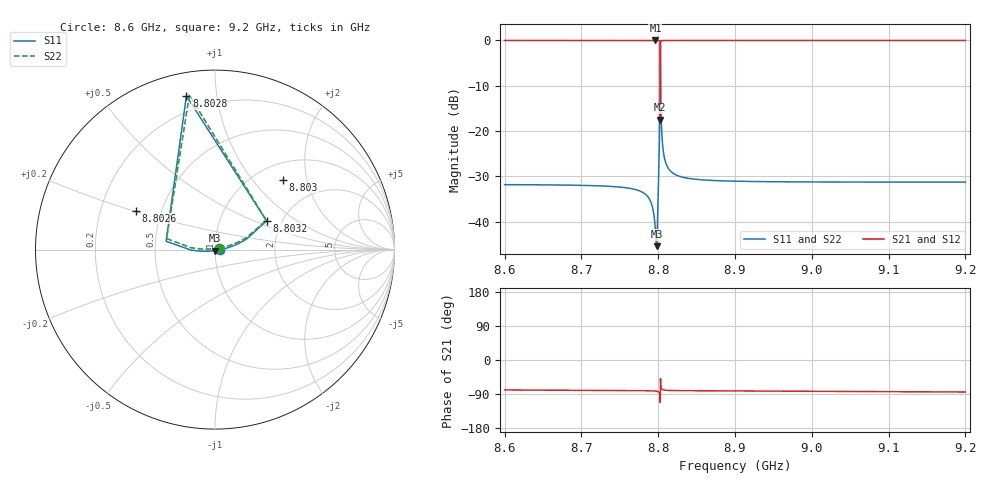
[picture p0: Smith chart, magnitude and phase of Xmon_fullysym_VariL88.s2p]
! Sonnet Data File
! From: emgraph Version : 16.52
! From Project: 171117_Xmon_fullysym
! Data is De-embedded
! Data File Written: 11/26/2017 21:44:45
!< HDATE 11/26/2017 17:24:49
!< MDATE 11/26/2017 17:24:49
!< PARAMS
!< Lj = 11.0
!< Gap = 1.0
!< Pwid = 2000.0
!< Airgap = 6.0
!< Width = 10.0
!< Lj1 = 8.8
!< END PARAMS
# GHZ S MA R 50.90000
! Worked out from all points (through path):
!   3001 points, 8.6 GHz to 9.2 GHz, reference 50.9 ohm
!   highest |S21| = 0.00 dB at 8.7964 GHz (marker M1); lowest = -17.5 dB at 8.8028 GHz (marker M2)
!   lowest |S11| = -45.4 dB at 8.7978 GHz (marker M3), VSWR 1.01, Z = 51 - j0.539 ohm
!   |S11| at or under -10 dB: start of sweep to 8.8024 GHz; 8.8032 GHz to end of sweep
!   |S22| runs from -45.1 to -1.2 dB; largest |S21 - S12| = 1.6e-11
!   S11 on the Smith chart (normalised r, x): 8.6 GHz: 1.05, -0.00; 8.8026 GHz: 0.36, +0.20; 8.8028 GHz: 0.12, +0.82; 8.803 GHz: 1.31, +1.45; 8.8032 GHz: 1.67, +0.60; 9.2 GHz: 1.06, -0.01
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8.6  0.02563 -0.3  0.9997 -79.0  0.9997 -79.0  0.02563 22.3
!< P1 F=8.6 Eeff=(6.44845572 -2.9799e-5) Z0=(50.9087207 1.17006e-4) R=0.0 C=0.0
!< P2 F=8.6 Eeff=(6.44845572 -2.9799e-5) Z0=(50.9087207 1.17006e-4) R=0.0 C=0.0
8.7  0.02517 -1.7  0.9997 -80.0  0.9997 -80.0  0.02517 21.8
8.7794  0.02114 -5.3  0.9998 -80.9  0.9998 -80.9  0.02115 23.4
8.7902  0.01663 -9.8  0.9998 -81.3  0.9998 -81.3  0.01664 27.3
8.7964  0.007931 -34.3  0.9999 -81.9  0.9999 -81.9  0.008015 51.1
8.7978  0.005365 -79.9  0.9999 -82.3  0.9999 -82.3  0.005564 95.4
8.799  0.009561 -138.6  0.9998 -82.7  0.9998 -82.7  0.009753 151.4
8.8002  0.02412 -160.9  0.9993 -83.7  0.9993 -83.7  0.02429 171.9
8.8014  0.0658 -171.9  0.9966 -86.1  0.9966 -86.1  0.06601 177.6
8.8026  0.493 153.9  0.8241 -111.7  0.8241 -111.7  0.4938 151.7
8.8028  0.871 100.5  0.1337 -97.5  0.1337 -97.5  0.8724 99.4
8.803  0.5437 45.9  0.7899 -49.5  0.7899 -49.5  0.5445 45.7
8.8032  0.3286 29.0  0.9299 -63.2  0.9299 -63.2  0.329 29.7
8.805  0.08467 9.7  0.9959 -77.5  0.9959 -77.5  0.08474 16.0
8.806  0.06648 7.5  0.9975 -78.6  0.9975 -78.6  0.06652 15.8
8.807  0.05695 6.1  0.9982 -79.1  0.9982 -79.1  0.05697 16.0
8.8096  0.04529 3.9  0.9989 -79.8  0.9989 -79.8  0.0453 16.6
8.8194  0.03421 0.8  0.9994 -80.5  0.9994 -80.5  0.03422 18.1
8.9002  0.02797 -2.6  0.9996 -81.7  0.9996 -81.7  0.02797 19.3
9.0002  0.02743 -4.0  0.9996 -82.6  0.9996 -82.6  0.02743 18.8
9.1  0.02732 -5.2  0.9996 -83.5  0.9996 -83.5  0.02732 18.1
9.2  0.0273 -6.3  0.9996 -84.5  0.9996 -84.5  0.0273 17.4
